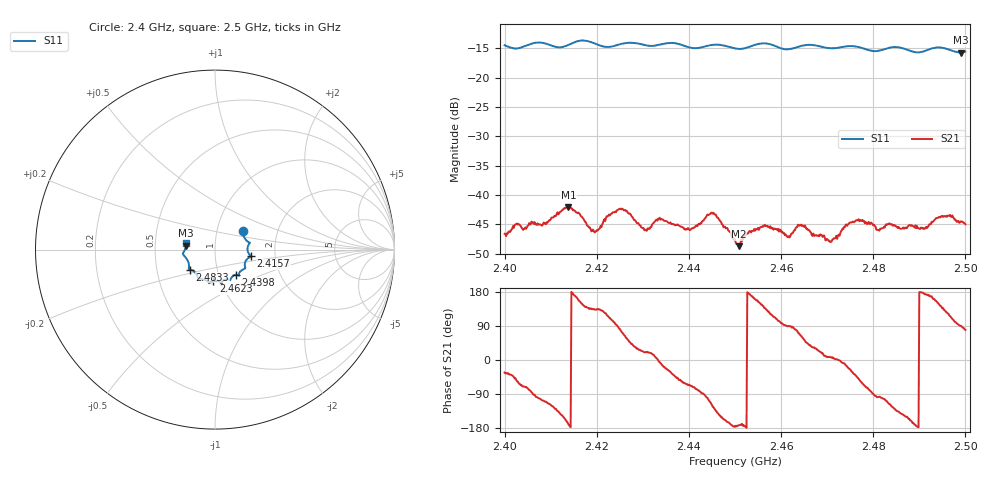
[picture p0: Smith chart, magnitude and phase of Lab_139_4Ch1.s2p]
# Hz S RI R 50
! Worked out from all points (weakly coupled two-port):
!   601 points, 2.4 GHz to 2.5 GHz, reference 50 ohm
!   highest |S21| = -42.04 dB at 2.4138 GHz (marker M1); lowest = -48.7 dB at 2.4508 GHz (marker M2)
!   lowest |S11| = -15.7 dB at 2.499 GHz (marker M3), VSWR 1.39, Z = 36 + j1.57 ohm
!   |S11| at or under -10 dB: start of sweep to end of sweep
!   S12 and S22 are empty: the file has one direction only
!   S11 on the Smith chart (normalised r, x): 2.4 GHz: 1.33, +0.29; 2.4157 GHz: 1.49, -0.12; 2.4398 GHz: 1.21, -0.35; 2.4623 GHz: 0.92, -0.34; 2.4833 GHz: 0.74, -0.17; 2.5 GHz: 0.72, +0.06
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2.4e9  0.1561 0.1058  0.00391 -0.00256  0 0  0 0
2.413833e9  0.1884 -0.0226  -0.00776 -0.0015  0 0  0 0
2.415667e9  0.1997 -0.037  -0.00685 0.00185  0 0  0 0
2.416667e9  0.2029 -0.0402  -0.00565 0.00335  0 0  0 0
2.419333e9  0.192 -0.0434  -0.00343 0.00359  0 0  0 0
2.425e9  0.1669 -0.0951  0.00111 0.00754  0 0  0 0
2.430333e9  0.1517 -0.1135  0.0047 0.00174  0 0  0 0
2.433333e9  0.1341 -0.1341  0.00629 -0.000108  0 0  0 0
2.439833e9  0.1163 -0.1396  0.00208 -0.00481  0 0  0 0
2.445333e9  0.085 -0.1703  -0.00399 -0.00584  0 0  0 0
2.45e9  0.0641 -0.1652  -0.00413 -0.000465  0 0  0 0
2.450833e9  0.0556 -0.1664  -0.00364 -0.000503  0 0  0 0
2.456e9  0.0382 -0.1919  -0.00435 0.00325  0 0  0 0
2.462333e9  -0.00862 -0.1759  0.000392 0.00471  0 0  0 0
2.464167e9  -0.0262 -0.1833  0.00221 0.00506  0 0  0 0
2.466667e9  -0.0333 -0.1868  0.00376 0.00257  0 0  0 0
2.470667e9  -0.0546 -0.1691  0.00393 0.000535  0 0  0 0
2.476333e9  -0.0943 -0.1578  0.00452 -0.00411  0 0  0 0
2.481167e9  -0.1217 -0.1174  -0.000631 -0.00499  0 0  0 0
2.483333e9  -0.1397 -0.1114  -0.00234 -0.00516  0 0  0 0
2.499e9  -0.162 0.0213  -3.8e-05 0.00596  0 0  0 0
2.5e9  -0.1622 0.0374  0.00102 0.00554  0 0  0 0
